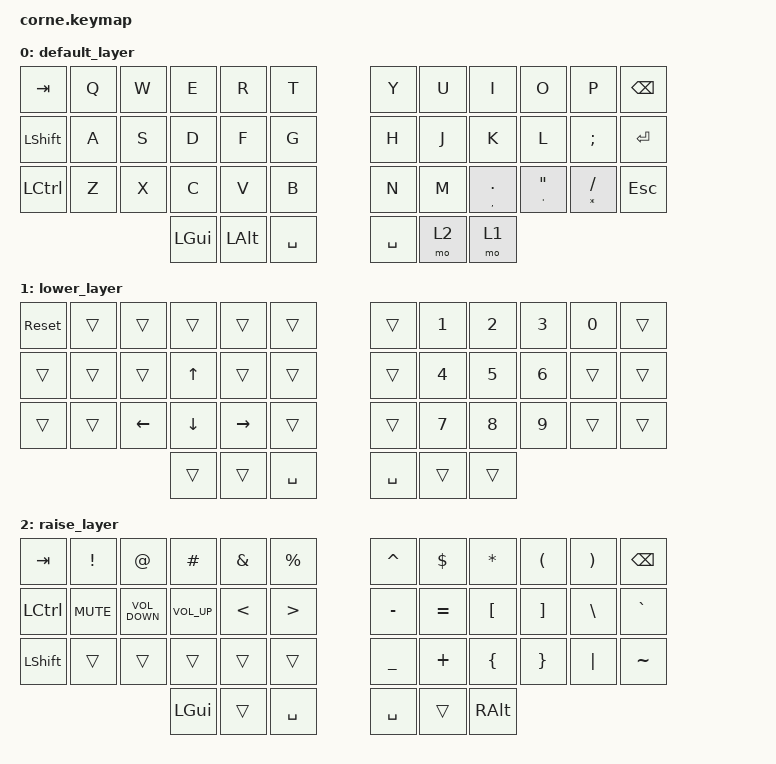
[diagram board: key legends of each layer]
/*
 * Copyright (c) 2020 The ZMK Contributors
 *
 * SPDX-License-Identifier: MIT
 */

#include <behaviors.dtsi>
#include <dt-bindings/zmk/keys.h>

#define BASE 0
#define LOWER 1
#define MOUSE_KEYS 2
#define MOUSE_TP 3
#define MOUSE_TP_SET 4

/*
 * Defines to enable/disable features
 *
 * These defines allow us to conditionally enable and disable parts of the keymap config.
 *
 * For example, if we decide to build the firmware without the mouse features, we can
 * disable all the config options that rely on those forks and modules without having
 * to edit the entire keymap file manually every time.
 */

#define HAS_MOUSE_KEYS
#define HAS_MOUSE_TP

#ifdef HAS_MOUSE_KEYS
  #include <dt-bindings/zmk/mouse.h>
  #include <behaviors/mouse_keys.dtsi>
#endif  // HAS_MOUSE_KEYS

#ifdef HAS_MOUSE_TP
  // We store the trackpoint settings in a separate file
  // to make organization a little easier.
  #include "mouse_tp.dtsi"
#endif  // HAS_MOUSE_TP



// Adjust layer keys based on enabled features.
//
// This prevents build errors when we build the firmware
// without the mouse keys PR or the TP module.
#ifdef HAS_MOUSE_KEYS
  #define U_THUMB_INNER &mo MOUSE_KEYS
#else
  #define U_THUMB_INNER &none
#endif  // HAS_MOUSE_KEYS

#ifdef HAS_MOUSE_TP
  #define U_TOG_TP_SET &tog MOUSE_TP_SET
#else
  #define U_TOG_TP_SET &none
#endif  // HAS_MOUSE_TP

/ {
    combos {
        compatible = "zmk,combos";

        Escape {
            bindings = <&kp ESC>;
            key-positions = <0 11>;
        };

        OpenParenthesis {
            bindings = <&kp LEFT_PARENTHESIS>;
            key-positions = <6 7>;
        };

        OpenBrace {
            bindings = <&kp LEFT_BRACE>;
            key-positions = <18 19>;
        };

        OpenBracket {
            bindings = <&kp LEFT_BRACKET>;
            key-positions = <30 31>;
        };

        CloseParenthasis {
            bindings = <&kp RIGHT_PARENTHESIS>;
            key-positions = <8 7>;
        };

        CloseBrace {
            bindings = <&kp RIGHT_BRACE>;
            key-positions = <19 20>;
        };

        CloseBracket {
            bindings = <&kp RIGHT_BRACKET>;
            key-positions = <31 32>;
        };

        LessThan {
            bindings = <&kp LESS_THAN>;
            key-positions = <3 4>;
        };

        GreatherThan {
            bindings = <&kp GREATER_THAN>;
            key-positions = <4 5>;
        };

        Enter {
            bindings = <&kp ENTER>;
            key-positions = <38 39>;
        };
    };

    keymap {
        compatible = "zmk,keymap";

        default_layer {
            // -----------------------------------------------------------------------------------------
            // |  TAB |  Q  |  W  |  E  |  R  |  T  |   |  Y  |  U   |  I  |  O  |  P  | BSPC |
            // | SHFT |  A  |  S  |  D  |  F  |  G  |   |  H  |  J   |  K  |  L  |  ;  | ENTR |
            // | CTRL |  Z  |  X  |  C  |  V  |  B  |   |  N  |  M   | ./, | '/" |  /* | EQU |
            //                    | GUI | LWR | SPC |   | SPC | L2   | L1  |

            bindings = <
&kp TAB         &kp Q  &kp W  &kp E     &kp R         &kp T        &kp Y      &kp U  &kp I          &kp O                  &kp P          &kp BSPC
&kp LEFT_SHIFT  &kp A  &kp S  &kp D     &kp F         &kp G        &kp H      &kp J  &kp K          &kp L                  &kp SEMI       &kp ENTER
&kp LCTRL       &kp Z  &kp X  &kp C     &kp V         &kp B        &kp N      &kp M  &mt COMMA DOT  &mt SQT DOUBLE_QUOTES  &mt STAR FSLH  &kp ESC
                              &kp LGUI  &kp LEFT_ALT  &kp SPACE    &kp SPACE  &mo 2  &mo 1
            >;
        };

        lower_layer {
            // -----------------------------------------------------------------------------------------
            // | SYSR |     |     |     |     |     |   |     |  1  |  2  |  3  |  0  |      |
            // |      |     |     | UP  |     |     |   |     |  4  |  5  |  6  |     |      |
            // |      |     | LFT | DWN | RGT |     |   |     |  7  |  8  |  9  |     |      |
            //                    |     |     | SPC |   | SPC |     |     |

            bindings = <
&sys_reset  &trans  &trans    &trans    &trans     &trans       &trans   &kp NUMBER_1  &kp NUMBER_2  &kp NUMBER_3  &kp N0  &trans
&trans      &trans  &trans    &kp UP    &trans     &trans       &trans   &kp NUMBER_4  &kp NUMBER_5  &kp NUMBER_6  &trans  &trans
&trans      &trans  &kp LEFT  &kp DOWN  &kp RIGHT  &trans       &trans   &kp NUMBER_7  &kp NUMBER_8  &kp NUMBER_9  &trans  &trans
                              &trans    &trans     &kp SPACE    &kp SPACE  &trans        &trans
            >;
        };

        raise_layer {
            // -----------------------------------------------------------------------------------------
            // |  TAB |  !  |  @  |  #  |  &  |  %  |   |  ^  |  $  |  *  |  (  |  )  | BSPC |
            // | CTRL |MUTE |V_UP |V_DWN|  <  |  >  |   |  -  |  =  |  [  |  ]  |  \  |  `   |
            // | SHFT |     |     |     |     |     |   |  _  |  +  |  {  |  }  | "|" |  ~   |
            //                    | GUI |     | SPC |   | SPC |     | ALT |

            bindings = <
&kp TAB    &kp EXCL     &kp AT              &kp HASH            &kp AMPERSAND  &kp PRCNT           &kp CARET  &kp DOLLAR  &kp ASTRK  &kp LPAR  &kp RPAR  &kp BSPC
&kp LCTRL  &kp C_MUTE   &kp C_VOLUME_DOWN   &kp C_VOLUME_UP     &kp LESS_THAN  &kp GREATER_THAN    &kp MINUS  &kp EQUAL   &kp LBKT   &kp RBKT  &kp BSLH  &kp GRAVE
&kp LSHFT  &trans       &trans              &trans              &trans         &trans              &kp UNDER  &kp PLUS    &kp LBRC   &kp RBRC  &kp PIPE  &kp TILDE
                                            &kp LGUI            &trans         &kp SPACE           &kp SPACE    &trans      &kp RALT
            >;
        };
    };
};


//For new Layers
    // -----------------------------------------------------------------------------------------
    // |      |     |     |     |     |     |   |     |     |     |     |     |      |
    // |      |     |     |     |     |     |   |     |     |     |     |     |      |
    // |      |     |     |     |     |     |   |     |     |     |     |     |      |
    //                    |     |     |     |   |     |     |     |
